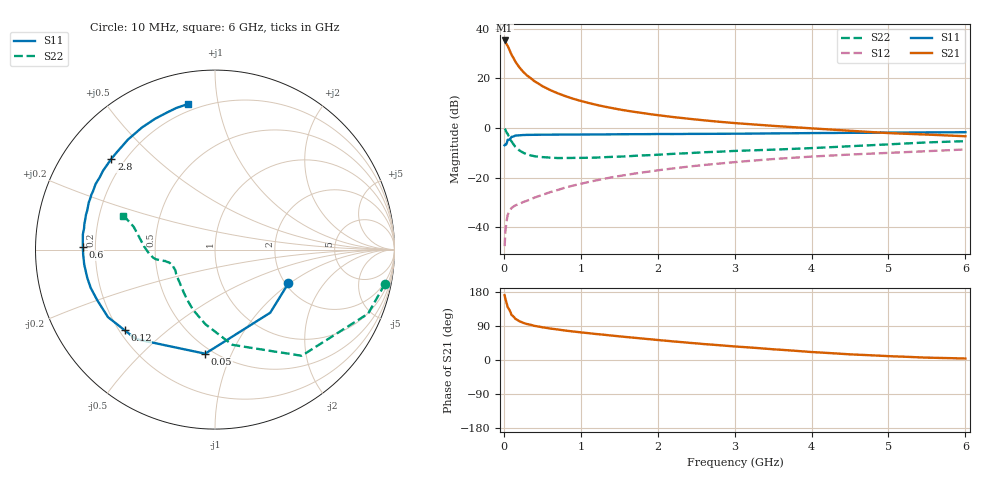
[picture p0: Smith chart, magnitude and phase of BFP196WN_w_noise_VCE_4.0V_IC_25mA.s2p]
! (c) 2017  Infineon Technologies AG, Munich
! Infineon Technologies  Discrete & RF Semiconductors
! BFP196WN
! VCE =  4.0 V,  IC =  25 mA
! Common Emitter S-Parameters:  Jan 2017
# GHz  S  MA  R  50
!  f  S11  S21  S12  S22
! GHz  MAG  ANG  MAG  ANG  MAG  ANG  MAG  ANG
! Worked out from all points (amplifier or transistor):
!   77 points, 10 MHz to 6 GHz, reference 50 ohm
!   highest |S21| = 35.3 dB at 10 MHz (marker M1)
!   |S21| within 3 dB of that: start of sweep to 61.79 MHz
!   unconditionally stable (mu >= 1): 841.6 MHz to 2.71 GHz
!   at 130 MHz: K = 0.37, MSG = 29.7 dB, |S12| = -31.5 dB
!   at 2.2 GHz: K = 1.03, MAG = 9.3 dB, |S12| = -16.2 dB
!   at 6 GHz: K = 0.90, MSG = 2.7 dB, |S12| = -8.6 dB
!   lowest NFmin = 1.00 dB at 450 MHz
!   S11 on the Smith chart (normalised r, x): 10 MHz: 2.07, -0.98; 50 MHz: 0.46, -0.80; 120 MHz: 0.22, -0.37; 600 MHz: 0.15, +0.01; 2.8 GHz: 0.15, +0.37; 6 GHz: 0.16, +0.82
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0.01  0.4499 -24.8  57.94 171.1  0.0042 80.8  0.966 -11.4
0.02  0.4673 -48.8  54.33 161.2  0.0083 74.7  0.9248 -22.7
0.05  0.5826 -95.4  44.94 139.1  0.0179 56.0  0.7634 -50.8
0.1  0.6653 -131.5  29.89 119.0  0.0247 45.3  0.5391 -79.7
0.12  0.6746 -138.2  26.53 115.7  0.026 44.0  0.4855 -85.7
0.15  0.7052 -147.8  21.72 108.8  0.0279 42.3  0.4184 -97.5
0.2  0.7143 -156.9  16.78 102.6  0.0296 42.1  0.357 -110.0
0.25  0.7246 -162.9  13.64 98.2  0.0324 43.5  0.3206 -118.7
0.3  0.7289 -167.5  11.48 95.0  0.0344 45.8  0.2954 -126.2
0.4  0.7332 -173.4  8.709 90.0  0.0399 49.6  0.271 -136.1
0.5  0.735 -177.8  6.992 86.4  0.0452 53.4  0.2604 -143.4
0.6  0.7364 178.9  5.847 83.2  0.0512 56.1  0.2545 -148.6
0.7  0.7383 176.0  5.01 80.5  0.0567 58.2  0.2494 -152.0
0.8  0.7411 173.3  4.39 77.7  0.0636 60.3  0.2496 -154.4
1.1  0.7423 166.8  3.202 70.8  0.0821 62.7  0.2526 -160.2
1.5  0.7507 159.5  2.37 62.5  0.1083 62.9  0.266 -164.5
2.1  0.7583 149.6  1.742 51.0  0.1475 61.3  0.2967 -168.0
2.8  0.7675 138.8  1.339 39.0  0.1929 57.5  0.3342 -170.7
3.1  0.7713 134.2  1.228 34.4  0.2124 55.1  0.3507 -173.3
4.1  0.7938 119.6  0.965 19.9  0.2719 47.5  0.4019 175.9
5.1  0.8105 108.6  0.781 9.4  0.3217 40.1  0.4786 163.7
6  0.8254 100.4  0.684 3.9  0.3714 34.0  0.5455 159.8
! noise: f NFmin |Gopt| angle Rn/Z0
0.45  1  0.43  174  0.05
0.9  1.15  0.51  182  0.05
1.9  2.08  0.68  210  0.13
2.4  2.83  0.69  217  0.23
